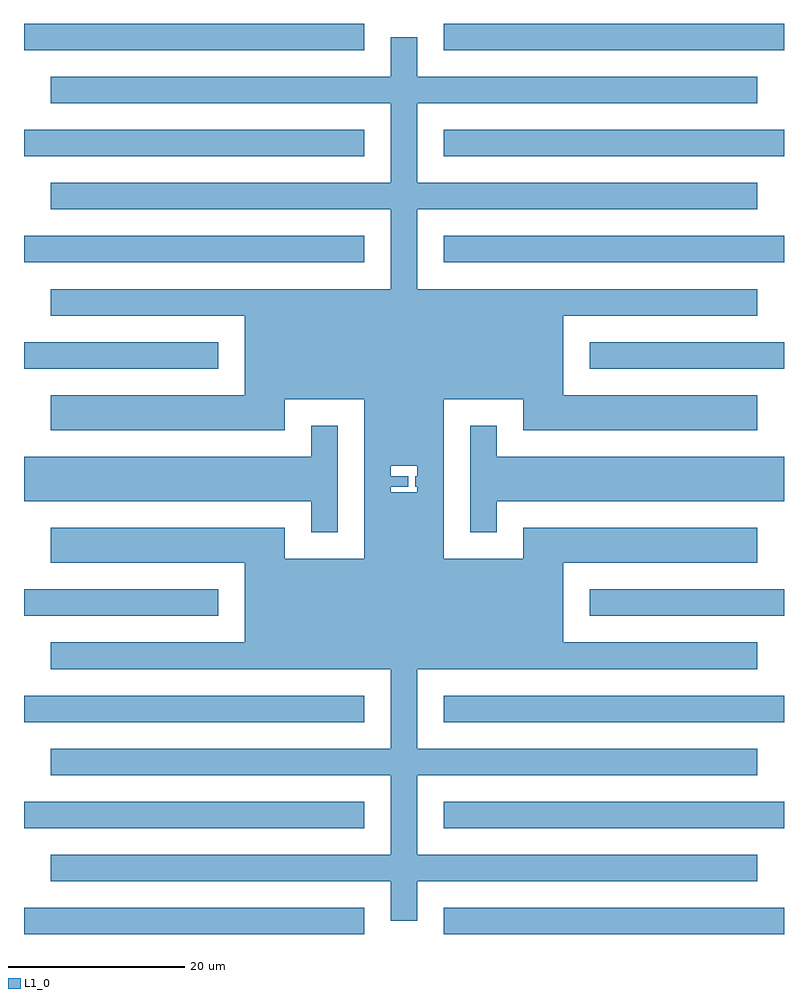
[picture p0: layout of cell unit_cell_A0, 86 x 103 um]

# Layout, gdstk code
from math import pi, radians
import gdstk
lib = gdstk.Library(unit=1e-6, precision=1e-09)
def R(c, l, rs):  # rectangles x0, y0, x1, y1
    for r in rs: c.add(gdstk.rectangle(r[:2], r[2:], *l))
def P(c, l, *ps):  # polygons
    for p in ps: c.add(gdstk.Polygon(p, *l))
L1_0 = (1, 0)

unnamed_116 = lib.new_cell('Unnamed_116')
P(unnamed_116, L1_0, [(38.5,0),(38.5,4.5),(0,4.5),(0,7.5),(38.5,7.5),(38.5,16.5),(0,16.5),(0,19.5),(38.5,19.5),(38.5,28.5),(0,28.5),(0,31.5),(22,31.5),(22,40.5),(0,40.5),(0,44.5),(26.5,44.5),(26.5,41),(35.5,41),(35.5,50),(38.5,50),(38.5,48.5),(40,48.5),(40,0)])

straight_l38p5_n2_csxs_e = lib.new_cell('straight_L38p5_N2_CSxs_e9659eb0')
R(straight_l38p5_n2_csxs_e, L1_0, [(0,-1.5,38.5,1.5)])

straight_array_n3_s9_l3_ = lib.new_cell('straight_array_N3_S9_L3_b91b2c6a')
straight_array_n3_s9_l3_.add(gdstk.Reference(straight_l38p5_n2_csxs_e, (0,0)))
straight_array_n3_s9_l3_.add(gdstk.Reference(straight_l38p5_n2_csxs_e, (0,12)))
straight_array_n3_s9_l3_.add(gdstk.Reference(straight_l38p5_n2_csxs_e, (0,24)))

straight_l22_n2_csxs_e96 = lib.new_cell('straight_L22_N2_CSxs_e9659eb0')
R(straight_l22_n2_csxs_e96, L1_0, [(0,-1.5,22,1.5)])

unnamed_111 = lib.new_cell('Unnamed_111')
unnamed_111.add(gdstk.Reference(straight_array_n3_s9_l3_, (-3,0)))
unnamed_111.add(gdstk.Reference(straight_l22_n2_csxs_e96, (-3,36)))

straight_l32p5_n2_csxs_3 = lib.new_cell('straight_L32p5_N2_CSxs_3e6774cf')
R(straight_l32p5_n2_csxs_3, L1_0, [(0,-2.5,32.5,2.5)])

triangle_x6_x2p5_y3_y3_l = lib.new_cell('triangle_X6_X2p5_Y3_Y3_L1_0')
R(triangle_x6_x2p5_y3_y3_l, L1_0, [(0,0,6,3)])

unnamed_114 = lib.new_cell('Unnamed_114')
unnamed_114.add(gdstk.Reference(straight_l32p5_n2_csxs_3, (-3,50)))
unnamed_114.add(gdstk.Reference(triangle_x6_x2p5_y3_y3_l, (32.5,50), rotation=3*pi/2, x_reflection=True))

unnamed_117 = lib.new_cell('Unnamed_117')
unnamed_117.add(gdstk.Reference(unnamed_116, (0,0)))
unnamed_117.add(gdstk.Reference(unnamed_111, (0,0)))
unnamed_117.add(gdstk.Reference(unnamed_114, (0,0)))

rectangle_s2_0p6_lwg_cf_ = lib.new_cell('rectangle_S2_0p6_LWG_CF_a6a46f17')
R(rectangle_s2_0p6_lwg_cf_, L1_0, [(0,0,2,0.6)])

rectangle_s0p2_1p2_lwg__ = lib.new_cell('rectangle_S0p2_1p2_LWG__107b6a9b')
R(rectangle_s0p2_1p2_lwg__, L1_0, [(0,0,0.2,1.2)])

unnamed_118 = lib.new_cell('Unnamed_118')
unnamed_118.add(gdstk.Reference(rectangle_s2_0p6_lwg_cf_, (0,0)))
unnamed_118.add(gdstk.Reference(rectangle_s0p2_1p2_lwg__, (2.8,-0.6)))

unit_cell_a0 = lib.new_cell('unit_cell_A0')
unit_cell_a0.add(gdstk.Reference(unnamed_117, (0,0)))
unit_cell_a0.add(gdstk.Reference(unnamed_117, (80,0), rotation=pi, x_reflection=True))
unit_cell_a0.add(gdstk.Reference(unnamed_117, (0,100), x_reflection=True))
unit_cell_a0.add(gdstk.Reference(unnamed_117, (80,100), rotation=pi))
unit_cell_a0.add(gdstk.Reference(unnamed_118, (38.5,49.7)))
unit_cell_a0.add(gdstk.Reference(unnamed_118, (38.5,49.7), x_reflection=True))

lib.write_gds('unit_cell_A0.gds')
